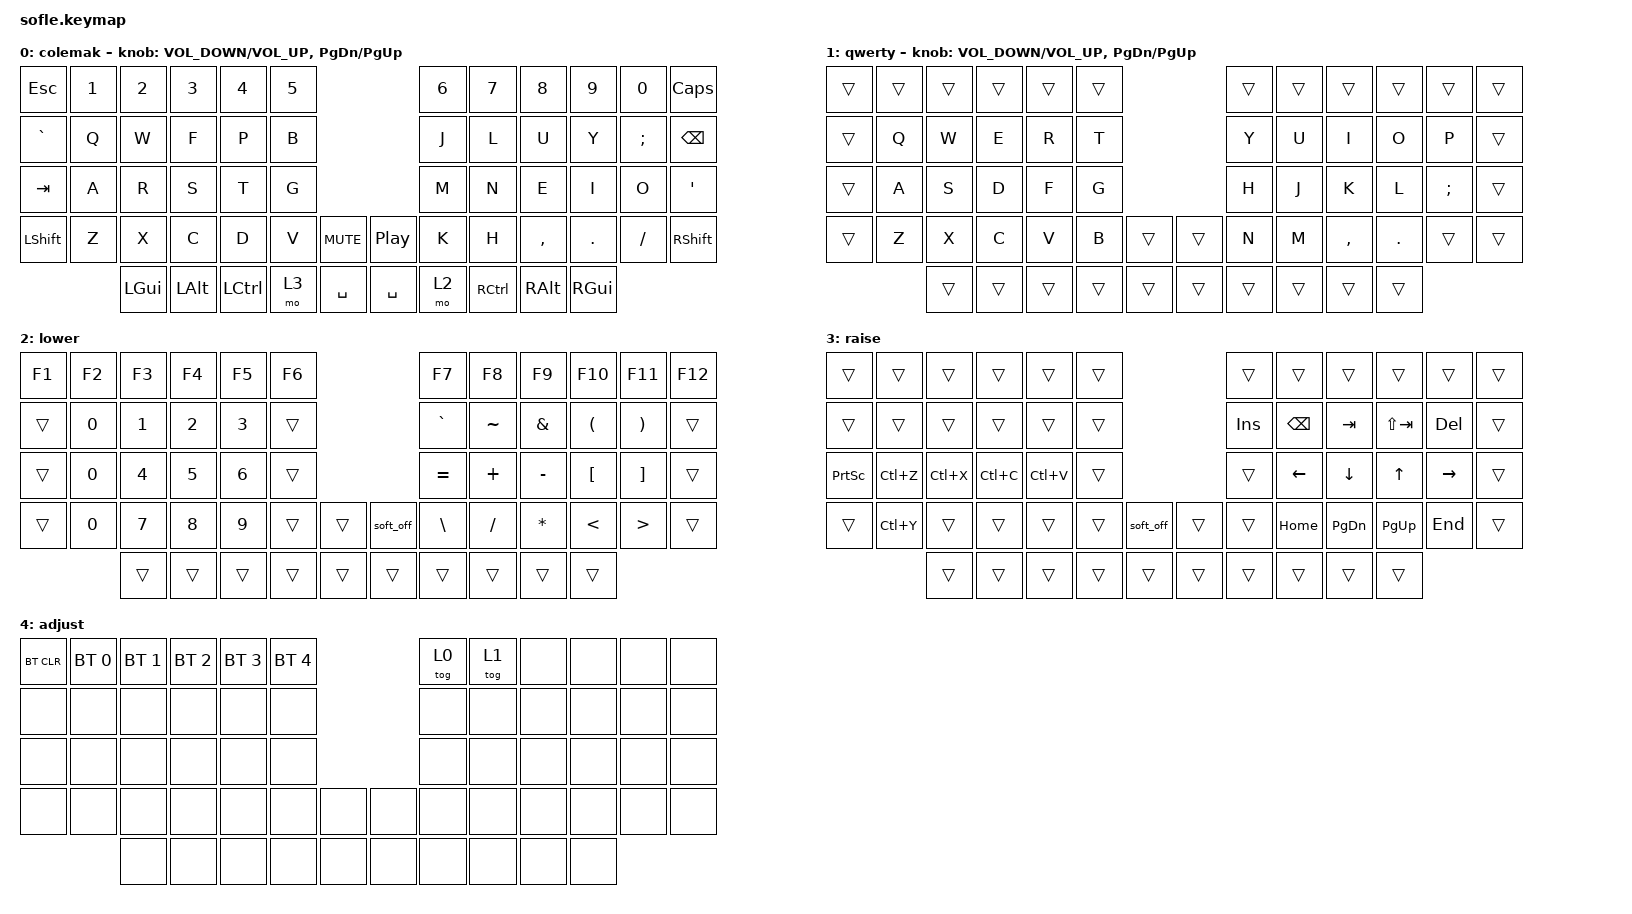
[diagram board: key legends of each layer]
/*
 * Copyright (c) 2020 The ZMK Contributors
 *
 * SPDX-License-Identifier: MIT
 */

#include <behaviors.dtsi>
#include <dt-bindings/zmk/bt.h>
#include <dt-bindings/zmk/keys.h>

#define BASE 0
#define LOWER 1
#define RAISE 2
#define ADJUST 3

&sensors { triggers-per-rotation = <20>; };

&soft_off {
    hold-time-ms = <2000>;

    /delete-property/ split-peripheral-off-on-press;
};

/ {
    // Activate ADJUST layer by pressing raise and lower

    conditional_layers {
        compatible = "zmk,conditional-layers";

        adjust_layer {
            if-layers = <2 3>;
            then-layer = <4>;
        };
    };

    combos {
        compatible = "zmk,combos";

        Enter {
            bindings = <&kp ENTER>;
            key-positions = <54 55>;
            layers = <0 1>;
        };
    };

    keymap {
        compatible = "zmk,keymap";

        colemak_layer {
            bindings = <
&kp ESCAPE  &kp N1  &kp N2    &kp N3    &kp N4     &kp N5                                  &kp N6  &kp N7     &kp N8     &kp N9    &kp N0         &kp CAPSLOCK
&kp GRAVE   &kp Q   &kp W     &kp F     &kp P      &kp B                                   &kp J   &kp L      &kp U      &kp Y     &kp SEMICOLON  &kp BACKSPACE
&kp TAB     &kp A   &kp R     &kp S     &kp T      &kp G                                   &kp M   &kp N      &kp E      &kp I     &kp O          &kp SINGLE_QUOTE
&kp LSHFT   &kp Z   &kp X     &kp C     &kp D      &kp V   &kp C_MUTE    &kp C_PLAY_PAUSE  &kp K   &kp H      &kp COMMA  &kp DOT   &kp SLASH      &kp RSHFT
                    &kp LGUI  &kp LALT  &kp LCTRL  &mo 3   &kp SPACE     &kp SPACE         &mo 2   &kp RCTRL  &kp RALT   &kp RGUI
            >;

            sensor-bindings =
                <&inc_dec_kp C_VOLUME_DOWN C_VOLUME_UP>,
                <&inc_dec_kp PAGE_DOWN PAGE_UP>;

            label = "colemak";
        };

        qwerty_layer {
            bindings = <
&trans  &trans  &trans  &trans  &trans  &trans                    &trans  &trans  &trans     &trans   &trans    &trans
&trans  &kp Q   &kp W   &kp E   &kp R   &kp T                     &kp Y   &kp U   &kp I      &kp O    &kp P     &trans
&trans  &kp A   &kp S   &kp D   &kp F   &kp G                     &kp H   &kp J   &kp K      &kp L    &kp SEMI  &trans
&trans  &kp Z   &kp X   &kp C   &kp V   &kp B   &trans    &trans  &kp N   &kp M   &kp COMMA  &kp DOT  &trans    &trans
                &trans  &trans  &trans  &trans  &trans    &trans  &trans  &trans  &trans     &trans
            >;

            label = "qwerty";
            sensor-bindings =
                <&inc_dec_kp C_VOLUME_DOWN C_VOLUME_UP>,
                <&inc_dec_kp PG_DN PG_UP>;
        };

        lower_layer {
            bindings = <
&kp F1  &kp F2  &kp F3  &kp F4  &kp F5  &kp F6                       &kp F7     &kp F8     &kp F9         &kp F10               &kp F11                &kp F12
&trans  &kp N0  &kp N1  &kp N2  &kp N3  &trans                       &kp GRAVE  &kp TILDE  &kp AMPERSAND  &kp LEFT_PARENTHESIS  &kp RIGHT_PARENTHESIS  &trans
&trans  &kp N0  &kp N4  &kp N5  &kp N6  &trans                       &kp EQUAL  &kp PLUS   &kp MINUS      &kp LBKT              &kp RBKT               &trans
&trans  &kp N0  &kp N7  &kp N8  &kp N9  &trans  &trans    &soft_off  &kp BSLH   &kp FSLH   &kp STAR       &kp LESS_THAN         &kp GREATER_THAN       &trans
                &trans  &trans  &trans  &trans  &trans    &trans     &trans     &trans     &trans         &trans
            >;

            label = "lower";
        };

        raise_layer {
            bindings = <
&trans           &trans     &trans     &trans     &trans     &trans                       &trans   &trans         &trans         &trans       &trans      &trans
&trans           &trans     &trans     &trans     &trans     &trans                       &kp INS  &kp BACKSPACE  &kp TAB        &kp LS(TAB)  &kp DELETE  &trans
&kp PRINTSCREEN  &kp LC(Z)  &kp LC(X)  &kp LC(C)  &kp LC(V)  &trans                       &trans   &kp LEFT       &kp DOWN       &kp UP       &kp RIGHT   &trans
&trans           &kp LC(Y)  &trans     &trans     &trans     &trans  &soft_off    &trans  &trans   &kp HOME       &kp PAGE_DOWN  &kp PAGE_UP  &kp END     &trans
                            &trans     &trans     &trans     &trans  &trans       &trans  &trans   &trans         &trans         &trans
            >;

            label = "raise";
        };

        adjust_layer {
            // ----------------------------------------------------------------------------------------------------------------------------
            // | BTCLR  |  BT1    |  BT2    |   BT3   |   BT4   |   BT5   |                  |      |      |       |      |       |       |
            // | EXTPWR | RGB_HUD | RGB_HUI | RGB_SAD | RGB_SAI | RGB_EFF |                  |      |      |       |      |       |       |
            // |        | RGB_BRD | RGB_BRI |         |         |         |                  |      |      |       |      |       |       |
            // |        |         |         |         |         |         | RGB_TOG | |      |      |      |       |      |       |       |
            //                    |         |         |         |         |         | |      |      |      |       |      |

            display-name = "adjust";
            bindings = <
&bt BT_CLR  &bt BT_SEL 0  &bt BT_SEL 1  &bt BT_SEL 2  &bt BT_SEL 3  &bt BT_SEL 4                  &tog 0  &tog 1  &none  &none  &none  &none
&none       &none         &none         &none         &none         &none                         &none   &none   &none  &none  &none  &none
&none       &none         &none         &none         &none         &none                         &none   &none   &none  &none  &none  &none
&none       &none         &none         &none         &none         &none         &none    &none  &none   &none   &none  &none  &none  &none
                          &none         &none         &none         &none         &none    &none  &none   &none   &none  &none
            >;
        };
    };
};
